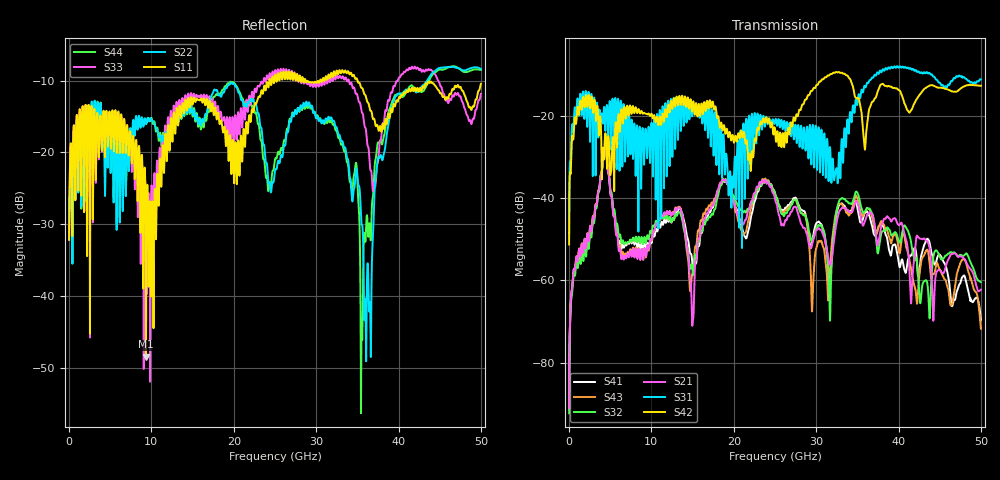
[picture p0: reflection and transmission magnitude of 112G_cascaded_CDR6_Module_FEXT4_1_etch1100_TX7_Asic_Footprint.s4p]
! Created Tue Feb 26 21:39:54 2019
# hz S ma R 50
! 4 Port Network Data from SP1.SP block
! freq  magS11  angS11  magS12  angS12  magS13  angS13  magS14  angS14
!  magS21  angS21  magS22  angS22  magS23  angS23  magS24  angS24
!  magS31  angS31  magS32  angS32  magS33  angS33  magS34  angS34
!  magS41  angS41  magS42  angS42  magS43  angS43  magS44  angS44
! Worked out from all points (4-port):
!   5000 points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, 10 MHz to 50 GHz, reference 50 ohm
!   strongest paths, dB at 10 MHz, 12.51 GHz, 25.01 GHz, 37.51 GHz, 50 GHz:
!     S42: -51.3, -18.1, -23.3, -13.9, -12.7
!     S31: -48.6, -24.5, -21.2, -9.6, -11.1
!     S21: -91.0, -43.7, -40.3, -51.3, -62.3
!     S32: -92.3, -45.2, -39.1, -53.4, -60.4
!     S43: -90.9, -43.7, -39.3, -47.6, -71.7
!     S41: -91.2, -45.4, -38.9, -47.3, -69.6
!   lowest |S11| = -48.4 dB at 9.35 GHz (marker M1), VSWR 1.01, Z = 49.6 + j0.082 ohm
!   |S11| at or under -10 dB: start of sweep to 24.32 GHz; 28.72 GHz to 30.46 GHz (1.747 GHz wide, 5.9 % of centre); 35.01 GHz to end of sweep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
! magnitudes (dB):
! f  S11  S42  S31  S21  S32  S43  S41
! 10 MHz  -32.1  -51.3  -48.6  -91.0  -92.3  -90.9  -91.2
! 1.21 GHz  -16.6  -19.6  -19.5  -52.4  -53.8  -52.4  -52.6
! 4.33 GHz  -19.5  -26.1  -19.7  -28.5  -28.5  -28.3  -28.4
! 9.35 GHz  -48.4  -19.5  -24.1  -54.1  -50.8  -54.4  -53.1
! 31.96 GHz  -9.4  -9.7  -30.9  -53.7  -53.4  -49.7  -52.1
! 36.01 GHz  -12.1  -26.1  -13.0  -45.1  -43.0  -43.0  -43.4
! 50 GHz  -10.5  -12.7  -11.1  -62.3  -60.4  -71.7  -69.6
